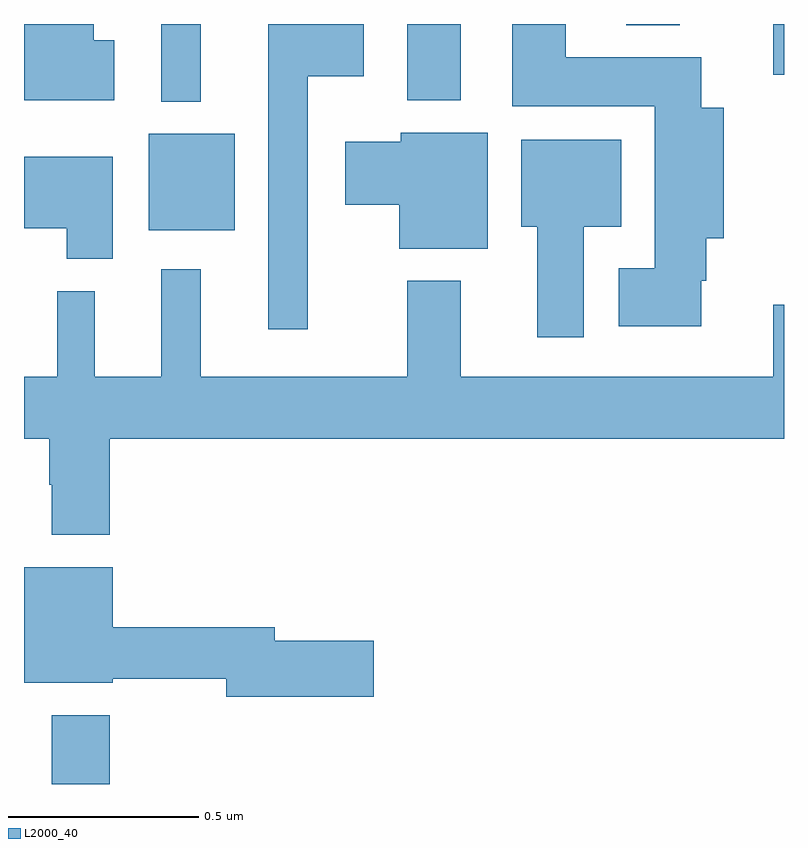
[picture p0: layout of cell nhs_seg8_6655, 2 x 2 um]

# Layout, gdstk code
import gdstk
lib = gdstk.Library(unit=1e-6, precision=1e-09)
def R(c, l, rs):  # rectangles x0, y0, x1, y1
    for r in rs: c.add(gdstk.rectangle(r[:2], r[2:], *l))
def P(c, l, *ps):  # polygons
    for p in ps: c.add(gdstk.Polygon(p, *l))
L2000_40 = (2000, 40)

nhs_seg8_6655 = lib.new_cell('nhs_seg8_6655')
R(nhs_seg8_6655, L2000_40, [(199.073,1140.9,199.226,1141.081), (199.328,1142.357,199.555,1142.611), (199.361,1142.696,199.465,1142.9), (200.009,1142.699,200.149,1142.9), (200.972,1142.766,201,1142.9), (200.585,1142.897,200.725,1142.9)])
P(nhs_seg8_6655, L2000_40, [(199.237,1142.857),(199.183,1142.857),(199.183,1142.9),(199,1142.9),(199,1142.699),(199.237,1142.699)],
  [(199.747,1142.762),(199.894,1142.762),(199.894,1142.9),(199.643,1142.9),(199.643,1142.097),(199.747,1142.097)],
  [(200.782,1142.225),(200.795,1142.225),(200.795,1142.336),(200.842,1142.336),(200.842,1142.68),(200.782,1142.68),(200.782,1142.812),(200.425,1142.812),(200.425,1142.9),(200.285,1142.9),(200.285,1142.684),(200.66,1142.684),(200.66,1142.257),(200.565,1142.257),(200.565,1142.105),(200.782,1142.105)],
  [(200.221,1142.614),(199.992,1142.614),(199.992,1142.59),(199.845,1142.59),(199.845,1142.425),(199.988,1142.425),(199.988,1142.309),(200.221,1142.309)],
  [(200.473,1142.366),(200.572,1142.366),(200.572,1142.596),(200.309,1142.596),(200.309,1142.366),(200.351,1142.366),(200.351,1142.076),(200.473,1142.076)],
  [(199.234,1142.551),(199,1142.551),(199,1142.363),(199.112,1142.363),(199.112,1142.282),(199.234,1142.282)],
  [(199.226,1141.808),(201,1141.808),(201,1142.161),(200.972,1142.161),(200.972,1141.972),(200.149,1141.972),(200.149,1142.224),(200.009,1142.224),(200.009,1141.972),(199.465,1141.972),(199.465,1142.254),(199.361,1142.254),(199.361,1141.972),(199.186,1141.972),(199.186,1142.197),(199.088,1142.197),(199.088,1141.972),(199,1141.972),(199,1141.808),(199.066,1141.808),(199.066,1141.688),(199.073,1141.688),(199.073,1141.556),(199.226,1141.556)],
  [(199.921,1141.277),(199.66,1141.277),(199.66,1141.313),(199.234,1141.313),(199.234,1141.471),(199.001,1141.471),(199.001,1141.166),(199.234,1141.166),(199.234,1141.177),(199.532,1141.177),(199.532,1141.13),(199.921,1141.13)])

lib.write_gds('nhs_seg8_6655.gds')
